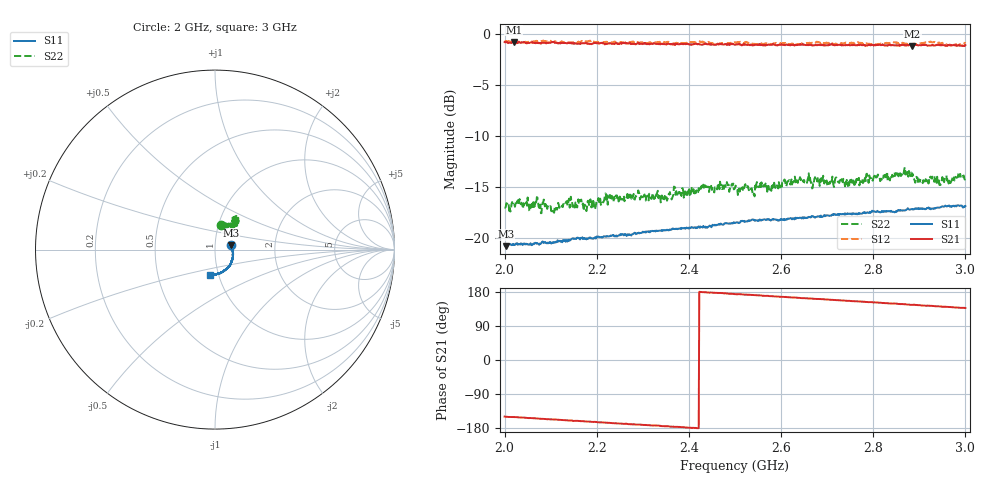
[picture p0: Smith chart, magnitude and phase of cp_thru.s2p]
!Agilent Technologies,E8364A,US41440144,A.06.04.32
!Agilent E8364A: A.06.04.32
!Date: Friday, February 02, 2018 16:02:46
!Correction: S11(Full 2 Port(1,2)) S21(Full 2 Port(1,2)) S12(Full 2 Port(1,2)) S22(Full 2 Port(1,2))
!S2P File: Measurements: S11, S21, S12, S22:
# Hz S  dB  R 50
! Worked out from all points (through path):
!   801 points, 2 GHz to 3 GHz, reference 50 ohm
!   highest |S21| = -0.80 dB at 2.02 GHz (marker M1); lowest = -1.2 dB at 2.885 GHz (marker M2)
!   group delay of S21, straight-line fit = 204 ps
!   lowest |S11| = -20.8 dB at 2.002 GHz (marker M3), VSWR 1.20, Z = 59.6 + j2.84 ohm
!   |S11| at or under -10 dB: start of sweep to end of sweep
!   |S22| runs from -17.6 to -13.1 dB; largest |S21 - S12| = 0.042
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2e9  -20.71 15.6  -0.82 -149.3  -0.76 -148.5  -16.98 75.7
2.0025e9  -20.78 15.0  -0.84 -149.5  -0.73 -149.2  -16.94 75.2
2.02e9  -20.59 13.1  -0.80 -150.4  -0.83 -150.5  -16.46 74.9
2.05875e9  -20.69 7.7  -0.88 -153.3  -0.76 -152.7  -16.64 71.0
2.0675e9  -20.46 5.9  -0.94 -154.1  -0.74 -153.1  -16.43 67.7
2.10625e9  -20.38 2.4  -0.80 -157.0  -0.82 -157.1  -17.43 72.7
2.13875e9  -20.25 -1.2  -0.91 -159.5  -0.84 -159.0  -16.28 63.4
2.1675e9  -20.01 -5.2  -0.95 -161.5  -0.72 -160.7  -16.63 62.1
2.33375e9  -19.30 -25.2  -1.02 -173.1  -0.83 -173.1  -16.09 53.2
2.34875e9  -19.23 -26.0  -1.04 -174.9  -0.85 -174.2  -16.12 56.3
2.3725e9  -19.11 -28.4  -1.03 -176.4  -0.89 -176.1  -15.41 53.4
2.5e9  -18.52 -44.6  -1.09 173.9  -0.86 175.2  -15.10 51.9
2.5375e9  -18.17 -48.3  -1.15 171.8  -0.98 171.7  -15.41 53.8
2.5525e9  -18.27 -50.3  -1.11 170.5  -0.97 170.6  -14.95 49.8
2.6425e9  -18.01 -60.8  -1.08 163.5  -1.04 164.9  -14.33 53.2
2.6675e9  -17.87 -64.2  -1.17 161.9  -0.89 162.6  -15.14 55.3
2.83375e9  -17.37 -81.8  -1.10 149.3  -0.93 150.0  -14.14 52.4
2.8725e9  -17.20 -87.1  -1.17 146.6  -0.98 147.1  -13.39 57.7
2.885e9  -17.14 -88.3  -1.21 145.8  -1.00 146.7  -13.94 54.8
2.9425e9  -17.02 -94.2  -1.13 141.4  -0.87 141.3  -14.36 54.3
2.96875e9  -16.90 -97.5  -1.14 139.6  -1.16 139.7  -14.49 56.6
3e9  -16.86 -101.5  -1.13 137.2  -0.95 138.8  -14.11 55.8
